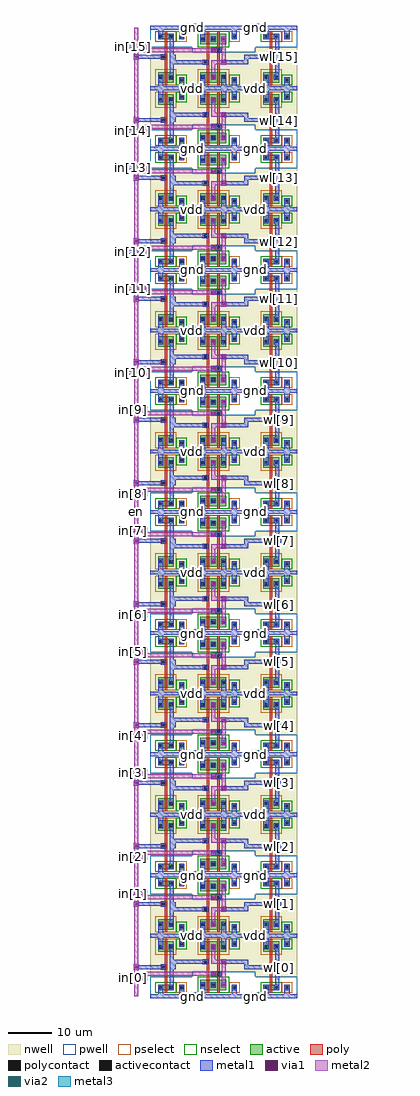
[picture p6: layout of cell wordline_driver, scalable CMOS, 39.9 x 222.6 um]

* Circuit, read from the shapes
.subckt wordline_driver en gnd in[0] in[10] in[11] in[12] in[13] in[14] in[15] in[1] in[2] in[3] in[4] in[5] in[6] in[7] in[8] in[9] vdd wl[0] wl[10] wl[11] wl[12] wl[13] wl[14] wl[15] wl[1] wl[2] wl[3] wl[4] wl[5] wl[6] wl[7] wl[8] wl[9]
M1 pnand2_4_1/A en gnd gnd nfet w=1.2u l=0.6u
M2 pnand2_4_4/A en gnd gnd nfet w=1.2u l=0.6u
M3 pnand2_4_7/A en gnd gnd nfet w=1.2u l=0.6u
M4 pnand2_4_10/A en gnd gnd nfet w=1.2u l=0.6u
M5 pnand2_4_13/A en gnd gnd nfet w=1.2u l=0.6u
M6 pnand2_4_16/A en gnd gnd nfet w=1.2u l=0.6u
M7 pnand2_4_19/A en gnd gnd nfet w=1.2u l=0.6u
M8 pnand2_4_22/A en gnd gnd nfet w=1.2u l=0.6u
M9 pnand2_4_25/A en gnd gnd nfet w=1.2u l=0.6u
M10 pnand2_4_28/A en gnd gnd nfet w=1.2u l=0.6u
M11 pnand2_4_31/A en gnd gnd nfet w=1.2u l=0.6u
M12 pnand2_4_34/A en gnd gnd nfet w=1.2u l=0.6u
M13 pnand2_4_37/A en gnd gnd nfet w=1.2u l=0.6u
M14 pnand2_4_40/A en gnd gnd nfet w=1.2u l=0.6u
M15 pnand2_4_43/A en gnd gnd nfet w=1.2u l=0.6u
M16 pnand2_4_46/A en gnd gnd nfet w=1.2u l=0.6u
M17 pnand2_4_1/nmos_m1_w2_4_a_p_2/D pnand2_4_1/A gnd gnd nfet w=2.4u l=0.6u
M18 pnand2_4_4/nmos_m1_w2_4_a_p_2/D pnand2_4_4/A gnd gnd nfet w=2.4u l=0.6u
M19 pnand2_4_7/nmos_m1_w2_4_a_p_2/D pnand2_4_7/A gnd gnd nfet w=2.4u l=0.6u
M20 pnand2_4_10/nmos_m1_w2_4_a_p_2/D pnand2_4_10/A gnd gnd nfet w=2.4u l=0.6u
M21 pnand2_4_13/nmos_m1_w2_4_a_p_2/D pnand2_4_13/A gnd gnd nfet w=2.4u l=0.6u
M22 pnand2_4_16/nmos_m1_w2_4_a_p_2/D pnand2_4_16/A gnd gnd nfet w=2.4u l=0.6u
M23 pnand2_4_19/nmos_m1_w2_4_a_p_2/D pnand2_4_19/A gnd gnd nfet w=2.4u l=0.6u
M24 pnand2_4_22/nmos_m1_w2_4_a_p_2/D pnand2_4_22/A gnd gnd nfet w=2.4u l=0.6u
M25 pnand2_4_25/nmos_m1_w2_4_a_p_2/D pnand2_4_25/A gnd gnd nfet w=2.4u l=0.6u
M26 pnand2_4_28/nmos_m1_w2_4_a_p_2/D pnand2_4_28/A gnd gnd nfet w=2.4u l=0.6u
M27 pnand2_4_31/nmos_m1_w2_4_a_p_2/D pnand2_4_31/A gnd gnd nfet w=2.4u l=0.6u
M28 pnand2_4_34/nmos_m1_w2_4_a_p_2/D pnand2_4_34/A gnd gnd nfet w=2.4u l=0.6u
M29 pnand2_4_37/nmos_m1_w2_4_a_p_2/D pnand2_4_37/A gnd gnd nfet w=2.4u l=0.6u
M30 pnand2_4_40/nmos_m1_w2_4_a_p_2/D pnand2_4_40/A gnd gnd nfet w=2.4u l=0.6u
M31 pnand2_4_43/nmos_m1_w2_4_a_p_2/D pnand2_4_43/A gnd gnd nfet w=2.4u l=0.6u
M32 pnand2_4_46/nmos_m1_w2_4_a_p_2/D pnand2_4_46/A gnd gnd nfet w=2.4u l=0.6u
M33 pinv_14_2/A in[0] pnand2_4_1/nmos_m1_w2_4_a_p_2/D gnd nfet w=2.4u l=0.6u
M34 pinv_14_5/A in[1] pnand2_4_4/nmos_m1_w2_4_a_p_2/D gnd nfet w=2.4u l=0.6u
M35 pinv_14_8/A in[2] pnand2_4_7/nmos_m1_w2_4_a_p_2/D gnd nfet w=2.4u l=0.6u
M36 pinv_14_11/A in[3] pnand2_4_10/nmos_m1_w2_4_a_p_2/D gnd nfet w=2.4u l=0.6u
M37 pinv_14_14/A in[4] pnand2_4_13/nmos_m1_w2_4_a_p_2/D gnd nfet w=2.4u l=0.6u
M38 pinv_14_17/A in[5] pnand2_4_16/nmos_m1_w2_4_a_p_2/D gnd nfet w=2.4u l=0.6u
M39 pinv_14_20/A in[6] pnand2_4_19/nmos_m1_w2_4_a_p_2/D gnd nfet w=2.4u l=0.6u
M40 pinv_14_23/A in[7] pnand2_4_22/nmos_m1_w2_4_a_p_2/D gnd nfet w=2.4u l=0.6u
M41 pinv_14_26/A in[8] pnand2_4_25/nmos_m1_w2_4_a_p_2/D gnd nfet w=2.4u l=0.6u
M42 pinv_14_29/A in[9] pnand2_4_28/nmos_m1_w2_4_a_p_2/D gnd nfet w=2.4u l=0.6u
M43 pinv_14_32/A in[10] pnand2_4_31/nmos_m1_w2_4_a_p_2/D gnd nfet w=2.4u l=0.6u
M44 pinv_14_35/A in[11] pnand2_4_34/nmos_m1_w2_4_a_p_2/D gnd nfet w=2.4u l=0.6u
M45 pinv_14_38/A in[12] pnand2_4_37/nmos_m1_w2_4_a_p_2/D gnd nfet w=2.4u l=0.6u
M46 pinv_14_41/A in[13] pnand2_4_40/nmos_m1_w2_4_a_p_2/D gnd nfet w=2.4u l=0.6u
M47 pinv_14_44/A in[14] pnand2_4_43/nmos_m1_w2_4_a_p_2/D gnd nfet w=2.4u l=0.6u
M48 pinv_14_47/A in[15] pnand2_4_46/nmos_m1_w2_4_a_p_2/D gnd nfet w=2.4u l=0.6u
M49 wl[0] pinv_14_2/A gnd gnd nfet w=1.2u l=0.6u
M50 wl[1] pinv_14_5/A gnd gnd nfet w=1.2u l=0.6u
M51 wl[2] pinv_14_8/A gnd gnd nfet w=1.2u l=0.6u
M52 wl[3] pinv_14_11/A gnd gnd nfet w=1.2u l=0.6u
M53 wl[4] pinv_14_14/A gnd gnd nfet w=1.2u l=0.6u
M54 wl[5] pinv_14_17/A gnd gnd nfet w=1.2u l=0.6u
M55 wl[6] pinv_14_20/A gnd gnd nfet w=1.2u l=0.6u
M56 wl[7] pinv_14_23/A gnd gnd nfet w=1.2u l=0.6u
M57 wl[8] pinv_14_26/A gnd gnd nfet w=1.2u l=0.6u
M58 wl[9] pinv_14_29/A gnd gnd nfet w=1.2u l=0.6u
M59 wl[10] pinv_14_32/A gnd gnd nfet w=1.2u l=0.6u
M60 wl[11] pinv_14_35/A gnd gnd nfet w=1.2u l=0.6u
M61 wl[12] pinv_14_38/A gnd gnd nfet w=1.2u l=0.6u
M62 wl[13] pinv_14_41/A gnd gnd nfet w=1.2u l=0.6u
M63 wl[14] pinv_14_44/A gnd gnd nfet w=1.2u l=0.6u
M64 wl[15] pinv_14_47/A gnd gnd nfet w=1.2u l=0.6u
M65 pnand2_4_1/A en vdd vdd pfet w=2.4u l=0.6u
M66 pnand2_4_4/A en vdd vdd pfet w=2.4u l=0.6u
M67 pnand2_4_7/A en vdd vdd pfet w=2.4u l=0.6u
M68 pnand2_4_10/A en vdd vdd pfet w=2.4u l=0.6u
M69 pnand2_4_13/A en vdd vdd pfet w=2.4u l=0.6u
M70 pnand2_4_16/A en vdd vdd pfet w=2.4u l=0.6u
M71 pnand2_4_19/A en vdd vdd pfet w=2.4u l=0.6u
M72 pnand2_4_22/A en vdd vdd pfet w=2.4u l=0.6u
M73 pnand2_4_25/A en vdd vdd pfet w=2.4u l=0.6u
M74 pnand2_4_28/A en vdd vdd pfet w=2.4u l=0.6u
M75 pnand2_4_31/A en vdd vdd pfet w=2.4u l=0.6u
M76 pnand2_4_34/A en vdd vdd pfet w=2.4u l=0.6u
M77 pnand2_4_37/A en vdd vdd pfet w=2.4u l=0.6u
M78 pnand2_4_40/A en vdd vdd pfet w=2.4u l=0.6u
M79 pnand2_4_43/A en vdd vdd pfet w=2.4u l=0.6u
M80 pnand2_4_46/A en vdd vdd pfet w=2.4u l=0.6u
M81 pinv_14_2/A pnand2_4_1/A vdd vdd pfet w=2.4u l=0.6u
M82 pinv_14_5/A pnand2_4_4/A vdd vdd pfet w=2.4u l=0.6u
M83 pinv_14_8/A pnand2_4_7/A vdd vdd pfet w=2.4u l=0.6u
M84 pinv_14_11/A pnand2_4_10/A vdd vdd pfet w=2.4u l=0.6u
M85 pinv_14_14/A pnand2_4_13/A vdd vdd pfet w=2.4u l=0.6u
M86 pinv_14_17/A pnand2_4_16/A vdd vdd pfet w=2.4u l=0.6u
M87 pinv_14_20/A pnand2_4_19/A vdd vdd pfet w=2.4u l=0.6u
M88 pinv_14_23/A pnand2_4_22/A vdd vdd pfet w=2.4u l=0.6u
M89 pinv_14_26/A pnand2_4_25/A vdd vdd pfet w=2.4u l=0.6u
M90 pinv_14_29/A pnand2_4_28/A vdd vdd pfet w=2.4u l=0.6u
M91 pinv_14_32/A pnand2_4_31/A vdd vdd pfet w=2.4u l=0.6u
M92 pinv_14_35/A pnand2_4_34/A vdd vdd pfet w=2.4u l=0.6u
M93 pinv_14_38/A pnand2_4_37/A vdd vdd pfet w=2.4u l=0.6u
M94 pinv_14_41/A pnand2_4_40/A vdd vdd pfet w=2.4u l=0.6u
M95 pinv_14_44/A pnand2_4_43/A vdd vdd pfet w=2.4u l=0.6u
M96 pinv_14_47/A pnand2_4_46/A vdd vdd pfet w=2.4u l=0.6u
M97 vdd in[0] pinv_14_2/A vdd pfet w=2.4u l=0.6u
M98 vdd in[1] pinv_14_5/A vdd pfet w=2.4u l=0.6u
M99 vdd in[2] pinv_14_8/A vdd pfet w=2.4u l=0.6u
M100 vdd in[3] pinv_14_11/A vdd pfet w=2.4u l=0.6u
M101 vdd in[4] pinv_14_14/A vdd pfet w=2.4u l=0.6u
M102 vdd in[5] pinv_14_17/A vdd pfet w=2.4u l=0.6u
M103 vdd in[6] pinv_14_20/A vdd pfet w=2.4u l=0.6u
M104 vdd in[7] pinv_14_23/A vdd pfet w=2.4u l=0.6u
M105 vdd in[8] pinv_14_26/A vdd pfet w=2.4u l=0.6u
M106 vdd in[9] pinv_14_29/A vdd pfet w=2.4u l=0.6u
M107 vdd in[10] pinv_14_32/A vdd pfet w=2.4u l=0.6u
M108 vdd in[11] pinv_14_35/A vdd pfet w=2.4u l=0.6u
M109 vdd in[12] pinv_14_38/A vdd pfet w=2.4u l=0.6u
M110 vdd in[13] pinv_14_41/A vdd pfet w=2.4u l=0.6u
M111 vdd in[14] pinv_14_44/A vdd pfet w=2.4u l=0.6u
M112 vdd in[15] pinv_14_47/A vdd pfet w=2.4u l=0.6u
M113 wl[0] pinv_14_2/A vdd vdd pfet w=2.4u l=0.6u
M114 wl[1] pinv_14_5/A vdd vdd pfet w=2.4u l=0.6u
M115 wl[2] pinv_14_8/A vdd vdd pfet w=2.4u l=0.6u
M116 wl[3] pinv_14_11/A vdd vdd pfet w=2.4u l=0.6u
M117 wl[4] pinv_14_14/A vdd vdd pfet w=2.4u l=0.6u
M118 wl[5] pinv_14_17/A vdd vdd pfet w=2.4u l=0.6u
M119 wl[6] pinv_14_20/A vdd vdd pfet w=2.4u l=0.6u
M120 wl[7] pinv_14_23/A vdd vdd pfet w=2.4u l=0.6u
M121 wl[8] pinv_14_26/A vdd vdd pfet w=2.4u l=0.6u
M122 wl[9] pinv_14_29/A vdd vdd pfet w=2.4u l=0.6u
M123 wl[10] pinv_14_32/A vdd vdd pfet w=2.4u l=0.6u
M124 wl[11] pinv_14_35/A vdd vdd pfet w=2.4u l=0.6u
M125 wl[12] pinv_14_38/A vdd vdd pfet w=2.4u l=0.6u
M126 wl[13] pinv_14_41/A vdd vdd pfet w=2.4u l=0.6u
M127 wl[14] pinv_14_44/A vdd vdd pfet w=2.4u l=0.6u
M128 wl[15] pinv_14_47/A vdd vdd pfet w=2.4u l=0.6u
.ends

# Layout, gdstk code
from math import pi, radians
import gdstk
lib = gdstk.Library(unit=1e-6, precision=1e-09)
def R(c, l, rs):  # rectangles x0, y0, x1, y1
    for r in rs: c.add(gdstk.rectangle(r[:2], r[2:], *l))
def A(c, l, x, y, w, h, nx, ny, dx, dy):  # array of equal rectangles
    R(c, l, [(x+i*dx, y+j*dy, x+i*dx+w, y+j*dy+h) for i in range(nx) for j in range(ny)])
pwell = (41, 0)
nwell = (42, 0)
active = (43, 0)
pselect = (44, 0)
nselect = (45, 0)
poly = (46, 0)
polycontact = (47, 0)
activecontact = (48, 0)
metal1 = (49, 0)
via1 = (50, 0)
metal2 = (51, 0)
via2 = (61, 0)
metal3 = (62, 0)

active_contact_metal1_1x = lib.new_cell('active_contact_metal1_1x1_pn')
R(active_contact_metal1_1x, nwell, [(-1.8,-1.8,3,3)])
R(active_contact_metal1_1x, active, [(0,0,1.2,1.2)])
R(active_contact_metal1_1x, pselect, [(-0.6,-0.6,1.8,1.8)])
R(active_contact_metal1_1x, activecontact, [(0.3,0.3,0.9,0.9)])
R(active_contact_metal1_1x, metal1, [(0,0,1.2,1.2)])

pmos_m1_w2_4_a_p = lib.new_cell('pmos_m1_w2_4_a_p')
R(pmos_m1_w2_4_a_p, nwell, [(-1.8,-1.8,5.4,4.2)])
R(pmos_m1_w2_4_a_p, active, [(0,0,3.6,2.4)])
R(pmos_m1_w2_4_a_p, pselect, [(-0.6,-0.6,4.2,3)])
R(pmos_m1_w2_4_a_p, poly, [(1.5,-0.6,2.1,3), (1.5,-0.6,2.1,3)])
R(pmos_m1_w2_4_a_p, metal1, [(0,0.6,1.2,1.8), (2.4,0.6,3.6,1.8)])
pmos_m1_w2_4_a_p.add(gdstk.Reference(active_contact_metal1_1x, (0,0.6)))
pmos_m1_w2_4_a_p.add(gdstk.Reference(active_contact_metal1_1x, (2.4,0.6)))
pmos_m1_w2_4_a_p.add(gdstk.Label('G', (1.8,1.2), layer=46, texttype=0))
pmos_m1_w2_4_a_p.add(gdstk.Label('S', (0.6,1.2), layer=49, texttype=0))
pmos_m1_w2_4_a_p.add(gdstk.Label('D', (3,1.2), layer=49, texttype=0))

c_active_contact_metal1_1x = lib.new_cell('active_contact_metal1_1x1_np')
R(c_active_contact_metal1_1x, pwell, [(-1.8,-1.8,3,3)])
R(c_active_contact_metal1_1x, active, [(0,0,1.2,1.2)])
R(c_active_contact_metal1_1x, nselect, [(-0.6,-0.6,1.8,1.8)])
R(c_active_contact_metal1_1x, activecontact, [(0.3,0.3,0.9,0.9)])
R(c_active_contact_metal1_1x, metal1, [(0,0,1.2,1.2)])

nmos_m1_w1_2_a_p = lib.new_cell('nmos_m1_w1_2_a_p')
R(nmos_m1_w1_2_a_p, pwell, [(-1.8,-1.8,5.4,3)])
R(nmos_m1_w1_2_a_p, active, [(0,0,3.6,1.2)])
R(nmos_m1_w1_2_a_p, nselect, [(-0.6,-0.6,4.2,1.8)])
R(nmos_m1_w1_2_a_p, poly, [(1.5,-0.6,2.1,1.8), (1.5,-0.6,2.1,1.8)])
R(nmos_m1_w1_2_a_p, metal1, [(0,0,1.2,1.2), (2.4,0,3.6,1.2)])
nmos_m1_w1_2_a_p.add(gdstk.Reference(c_active_contact_metal1_1x, (0,0)))
nmos_m1_w1_2_a_p.add(gdstk.Reference(c_active_contact_metal1_1x, (2.4,0)))
nmos_m1_w1_2_a_p.add(gdstk.Label('G', (1.8,0.6), layer=46, texttype=0))
nmos_m1_w1_2_a_p.add(gdstk.Label('S', (0.6,0.6), layer=49, texttype=0))
nmos_m1_w1_2_a_p.add(gdstk.Label('D', (3,0.6), layer=49, texttype=0))

c_active_contact_metal1_1x_ = lib.new_cell('active_contact_metal1_1x1_nn')
R(c_active_contact_metal1_1x_, nwell, [(-1.8,-1.8,3,3)])
R(c_active_contact_metal1_1x_, active, [(0,0,1.2,1.2)])
R(c_active_contact_metal1_1x_, nselect, [(-0.6,-0.6,1.8,1.8)])
R(c_active_contact_metal1_1x_, activecontact, [(0.3,0.3,0.9,0.9)])
R(c_active_contact_metal1_1x_, metal1, [(0,0,1.2,1.2)])

c_active_contact_metal1_1x__ = lib.new_cell('active_contact_metal1_1x1_pp')
R(c_active_contact_metal1_1x__, pwell, [(-1.8,-1.8,3,3)])
R(c_active_contact_metal1_1x__, active, [(0,0,1.2,1.2)])
R(c_active_contact_metal1_1x__, pselect, [(-0.6,-0.6,1.8,1.8)])
R(c_active_contact_metal1_1x__, activecontact, [(0.3,0.3,0.9,0.9)])
R(c_active_contact_metal1_1x__, metal1, [(0,0,1.2,1.2)])

poly_contact_metal1_1x1 = lib.new_cell('poly_contact_metal1_1x1')
R(poly_contact_metal1_1x1, poly, [(0,0,1.2,1.2)])
R(poly_contact_metal1_1x1, polycontact, [(0.3,0.3,0.9,0.9)])
R(poly_contact_metal1_1x1, metal1, [(0,0,1.2,1.2)])

pinv_15 = lib.new_cell('pinv_15')
R(pinv_15, pwell, [(0,-0.45,9.6,4.35)])
R(pinv_15, nwell, [(0,4.35,9.6,14.25)])
R(pinv_15, poly, [(3.3,0.75,3.9,9.45), (3,6,3.3,7.2)])
R(pinv_15, metal1, [(0,-0.45,9.6,0.45), (1.8,-0.45,3,1.35), (6.6,0,7.8,1.95), (4.5,1.35,5.4,10.65), (2.4,6,3.6,7.2), (4.95,6.15,5.85,7.05), (1.8,10.65,3,14.25), (6.6,11.85,7.8,13.8), (0,13.35,9.6,14.25)])
pinv_15.add(gdstk.Reference(pmos_m1_w2_4_a_p, (1.8,10.05)))
pinv_15.add(gdstk.Reference(nmos_m1_w1_2_a_p, (1.8,1.35)))
pinv_15.add(gdstk.Reference(c_active_contact_metal1_1x_, (6.6,11.25)))
pinv_15.add(gdstk.Reference(c_active_contact_metal1_1x__, (6.6,1.35)))
pinv_15.add(gdstk.Reference(poly_contact_metal1_1x1, (2.4,6)))
pinv_15.add(gdstk.Label('gnd', (4.8,0), layer=49, texttype=0))
pinv_15.add(gdstk.Label('vdd', (4.8,13.8), layer=49, texttype=0))
pinv_15.add(gdstk.Label('A', (3,6.6), layer=49, texttype=0))
pinv_15.add(gdstk.Label('Z', (5.4,6.6), layer=49, texttype=0))

nmos_m1_w2_4_a_p = lib.new_cell('nmos_m1_w2_4_a_p')
R(nmos_m1_w2_4_a_p, pwell, [(-1.8,-1.8,5.4,4.2)])
R(nmos_m1_w2_4_a_p, active, [(0,0,3.6,2.4)])
R(nmos_m1_w2_4_a_p, nselect, [(-0.6,-0.6,4.2,3)])
R(nmos_m1_w2_4_a_p, poly, [(1.5,-0.6,2.1,3), (1.5,-0.6,2.1,3)])
R(nmos_m1_w2_4_a_p, metal1, [(0,0.6,1.2,1.8), (2.4,0.6,3.6,1.8)])
nmos_m1_w2_4_a_p.add(gdstk.Reference(c_active_contact_metal1_1x, (0,0.6)))
nmos_m1_w2_4_a_p.add(gdstk.Reference(c_active_contact_metal1_1x, (2.4,0.6)))
nmos_m1_w2_4_a_p.add(gdstk.Label('G', (1.8,1.2), layer=46, texttype=0))
nmos_m1_w2_4_a_p.add(gdstk.Label('S', (0.6,1.2), layer=49, texttype=0))
nmos_m1_w2_4_a_p.add(gdstk.Label('D', (3,1.2), layer=49, texttype=0))

metal1_via1_metal2_1x1 = lib.new_cell('metal1_via1_metal2_1x1')
R(metal1_via1_metal2_1x1, metal1, [(0,0,1.2,1.2)])
R(metal1_via1_metal2_1x1, via1, [(0.3,0.3,0.9,0.9)])
R(metal1_via1_metal2_1x1, metal2, [(0,0,1.2,1.2)])

pnand2_4 = lib.new_cell('pnand2_4')
R(pnand2_4, pwell, [(0,-0.45,14.4,5.55)])
R(pnand2_4, nwell, [(0,5.55,14.4,14.25)])
R(pnand2_4, poly, [(3.3,0.75,3.9,9.45), (5.7,0.75,6.3,9.45), (5.7,4.5,6,5.7), (3,7.2,3.3,8.4)])
R(pnand2_4, metal1, [(0,-0.45,14.4,0.45), (1.8,-0.45,3,1.95), (9,0,10.2,1.95), (5.4,4.5,6.6,5.7), (2.4,7.2,3.6,8.4), (6.6,7.2,7.8,8.4), (1.8,10.65,3,14.25), (6.6,10.65,7.8,14.25), (9,11.85,10.2,13.8), (0,13.35,14.4,14.25)])
R(pnand2_4, metal2, [(6.75,3.15,7.65,7.8), (4.35,7.35,5.25,8.25), (4.8,7.35,7.2,8.25), (6.75,7.35,7.65,8.25), (4.35,7.8,5.25,10.65)])
pnand2_4.add(gdstk.Reference(pmos_m1_w2_4_a_p, (1.8,10.05)))
pnand2_4.add(gdstk.Reference(pmos_m1_w2_4_a_p, (4.2,10.05)))
pnand2_4.add(gdstk.Reference(nmos_m1_w2_4_a_p, (1.8,1.35)))
pnand2_4.add(gdstk.Reference(nmos_m1_w2_4_a_p, (4.2,1.35)))
pnand2_4.add(gdstk.Reference(c_active_contact_metal1_1x_, (9,11.25)))
pnand2_4.add(gdstk.Reference(c_active_contact_metal1_1x__, (9,1.35)))
pnand2_4.add(gdstk.Reference(poly_contact_metal1_1x1, (6.6,4.5), rotation=pi/2))
pnand2_4.add(gdstk.Reference(poly_contact_metal1_1x1, (3.6,7.2), rotation=pi/2))
pnand2_4.add(gdstk.Reference(metal1_via1_metal2_1x1, (4.2,10.65)))
pnand2_4.add(gdstk.Reference(metal1_via1_metal2_1x1, (6.6,1.95)))
pnand2_4.add(gdstk.Reference(metal1_via1_metal2_1x1, (7.8,7.2), rotation=pi/2))
pnand2_4.add(gdstk.Label('gnd', (7.2,0), layer=49, texttype=0))
pnand2_4.add(gdstk.Label('vdd', (7.2,13.8), layer=49, texttype=0))
pnand2_4.add(gdstk.Label('B', (6,5.1), layer=49, texttype=0))
pnand2_4.add(gdstk.Label('A', (3,7.8), layer=49, texttype=0))
pnand2_4.add(gdstk.Label('Z', (7.2,7.8), layer=49, texttype=0))

pinv_14 = lib.new_cell('pinv_14')
R(pinv_14, pwell, [(0,-0.45,9.6,4.35)])
R(pinv_14, nwell, [(0,4.35,9.6,14.25)])
R(pinv_14, poly, [(3.3,0.75,3.9,9.45), (3,6,3.3,7.2)])
R(pinv_14, metal1, [(0,-0.45,9.6,0.45), (1.8,-0.45,3,1.35), (6.6,0,7.8,1.95), (4.5,1.35,5.4,10.65), (2.4,6,3.6,7.2), (4.95,6.15,5.85,7.05), (1.8,10.65,3,14.25), (6.6,11.85,7.8,13.8), (0,13.35,9.6,14.25)])
pinv_14.add(gdstk.Reference(pmos_m1_w2_4_a_p, (1.8,10.05)))
pinv_14.add(gdstk.Reference(nmos_m1_w1_2_a_p, (1.8,1.35)))
pinv_14.add(gdstk.Reference(c_active_contact_metal1_1x_, (6.6,11.25)))
pinv_14.add(gdstk.Reference(c_active_contact_metal1_1x__, (6.6,1.35)))
pinv_14.add(gdstk.Reference(poly_contact_metal1_1x1, (2.4,6)))
pinv_14.add(gdstk.Label('gnd', (4.8,0), layer=49, texttype=0))
pinv_14.add(gdstk.Label('vdd', (4.8,13.8), layer=49, texttype=0))
pinv_14.add(gdstk.Label('A', (3,6.6), layer=49, texttype=0))
pinv_14.add(gdstk.Label('Z', (5.4,6.6), layer=49, texttype=0))

metal2_via2_metal3_1x1 = lib.new_cell('metal2_via2_metal3_1x1')
R(metal2_via2_metal3_1x1, metal2, [(0.3,0.3,1.5,1.5)])
R(metal2_via2_metal3_1x1, via2, [(0.6,0.6,1.2,1.2)])
R(metal2_via2_metal3_1x1, metal3, [(0,0,1.8,1.8)])

wordline_driver = lib.new_cell('wordline_driver')
A(wordline_driver, metal1, 8.7, 7.95, 0.9, 0.75, 1, 8, 0, 27.6)
A(wordline_driver, metal1, 8.7, 20.7, 0.9, 1.65, 1, 8, 0, 27.6)
R(wordline_driver, metal1, [(-2.55,4.65,2.55,5.55), (0.6,7.05,6.15,7.95), (8.7,7.05,9.6,7.95), (25.2,7.05,26.1,7.95), (25.65,7.05,30.15,7.95), (32.7,7.05,33.6,7.95), (25.2,7.5,26.1,8.7), (8.7,8.25,9.6,9.15), (9.15,8.25,15.75,9.15), (15.75,8.25,16.95,9.15), (21.15,8.25,25.65,9.15), (25.2,8.25,26.1,9.15), (8.7,20.25,9.6,21.15), (9.15,20.25,15.75,21.15), (15.75,20.25,16.95,21.15), (21.15,20.25,25.65,21.15), (25.2,20.25,26.1,21.15), (25.2,20.7,26.1,21.9), (0.6,21.45,6.15,22.35), (8.7,21.45,9.6,22.35), (25.2,21.45,26.1,22.35), (25.65,21.45,30.15,22.35), (32.7,21.45,33.6,22.35), (-2.55,23.85,2.55,24.75), (-2.55,32.25,2.55,33.15), (0.6,34.65,6.15,35.55), (8.7,34.65,9.6,35.55), (25.2,34.65,26.1,35.55), (25.65,34.65,30.15,35.55), (32.7,34.65,33.6,35.55), (25.2,35.1,26.1,36.3), (8.7,35.85,9.6,36.75), (9.15,35.85,15.75,36.75), (15.75,35.85,16.95,36.75), (21.15,35.85,25.65,36.75), (25.2,35.85,26.1,36.75), (8.7,47.85,9.6,48.75), (9.15,47.85,15.75,48.75), (15.75,47.85,16.95,48.75), (21.15,47.85,25.65,48.75), (25.2,47.85,26.1,48.75), (25.2,48.3,26.1,49.5), (0.6,49.05,6.15,49.95), (8.7,49.05,9.6,49.95), (25.2,49.05,26.1,49.95), (25.65,49.05,30.15,49.95), (32.7,49.05,33.6,49.95), (-2.55,51.45,2.55,52.35), (-2.55,59.85,2.55,60.75), (0.6,62.25,6.15,63.15), (8.7,62.25,9.6,63.15), (25.2,62.25,26.1,63.15), (25.65,62.25,30.15,63.15), (32.7,62.25,33.6,63.15), (25.2,62.7,26.1,63.9), (8.7,63.45,9.6,64.35), (9.15,63.45,15.75,64.35), (15.75,63.45,16.95,64.35), (21.15,63.45,25.65,64.35), (25.2,63.45,26.1,64.35), (8.7,75.45,9.6,76.35), (9.15,75.45,15.75,76.35), (15.75,75.45,16.95,76.35), (21.15,75.45,25.65,76.35), (25.2,75.45,26.1,76.35), (25.2,75.9,26.1,77.1), (0.6,76.65,6.15,77.55), (8.7,76.65,9.6,77.55), (25.2,76.65,26.1,77.55), (25.65,76.65,30.15,77.55), (32.7,76.65,33.6,77.55), (-2.55,79.05,2.55,79.95), (-2.55,87.45,2.55,88.35), (0.6,89.85,6.15,90.75), (8.7,89.85,9.6,90.75), (25.2,89.85,26.1,90.75), (25.65,89.85,30.15,90.75), (32.7,89.85,33.6,90.75), (25.2,90.3,26.1,91.5), (8.7,91.05,9.6,91.95), (9.15,91.05,15.75,91.95), (15.75,91.05,16.95,91.95), (21.15,91.05,25.65,91.95), (25.2,91.05,26.1,91.95), (8.7,103.05,9.6,103.95), (9.15,103.05,15.75,103.95), (15.75,103.05,16.95,103.95), (21.15,103.05,25.65,103.95), (25.2,103.05,26.1,103.95), (25.2,103.5,26.1,104.7), (0.6,104.25,6.15,105.15), (8.7,104.25,9.6,105.15), (25.2,104.25,26.1,105.15), (25.65,104.25,30.15,105.15), (32.7,104.25,33.6,105.15), (-2.55,106.65,2.55,107.55), (-2.55,115.05,2.55,115.95), (0.6,117.45,6.15,118.35), (8.7,117.45,9.6,118.35), (25.2,117.45,26.1,118.35), (25.65,117.45,30.15,118.35), (32.7,117.45,33.6,118.35), (25.2,117.9,26.1,119.1), (8.7,118.65,9.6,119.55), (9.15,118.65,15.75,119.55), (15.75,118.65,16.95,119.55), (21.15,118.65,25.65,119.55), (25.2,118.65,26.1,119.55), (8.7,130.65,9.6,131.55), (9.15,130.65,15.75,131.55), (15.75,130.65,16.95,131.55), (21.15,130.65,25.65,131.55), (25.2,130.65,26.1,131.55), (25.2,131.1,26.1,132.3), (0.6,131.85,6.15,132.75), (8.7,131.85,9.6,132.75), (25.2,131.85,26.1,132.75), (25.65,131.85,30.15,132.75), (32.7,131.85,33.6,132.75), (-2.55,134.25,2.55,135.15), (-2.55,142.65,2.55,143.55), (0.6,145.05,6.15,145.95), (8.7,145.05,9.6,145.95), (25.2,145.05,26.1,145.95), (25.65,145.05,30.15,145.95), (32.7,145.05,33.6,145.95), (25.2,145.5,26.1,146.7), (8.7,146.25,9.6,147.15), (9.15,146.25,15.75,147.15), (15.75,146.25,16.95,147.15), (21.15,146.25,25.65,147.15), (25.2,146.25,26.1,147.15), (8.7,158.25,9.6,159.15), (9.15,158.25,15.75,159.15), (15.75,158.25,16.95,159.15), (21.15,158.25,25.65,159.15), (25.2,158.25,26.1,159.15), (25.2,158.7,26.1,159.9), (0.6,159.45,6.15,160.35), (8.7,159.45,9.6,160.35), (25.2,159.45,26.1,160.35), (25.65,159.45,30.15,160.35), (32.7,159.45,33.6,160.35), (-2.55,161.85,2.55,162.75), (-2.55,170.25,2.55,171.15), (0.6,172.65,6.15,173.55), (8.7,172.65,9.6,173.55), (25.2,172.65,26.1,173.55), (25.65,172.65,30.15,173.55), (32.7,172.65,33.6,173.55), (25.2,173.1,26.1,174.3), (8.7,173.85,9.6,174.75), (9.15,173.85,15.75,174.75), (15.75,173.85,16.95,174.75), (21.15,173.85,25.65,174.75), (25.2,173.85,26.1,174.75), (8.7,185.85,9.6,186.75), (9.15,185.85,15.75,186.75), (15.75,185.85,16.95,186.75), (21.15,185.85,25.65,186.75), (25.2,185.85,26.1,186.75), (25.2,186.3,26.1,187.5), (0.6,187.05,6.15,187.95), (8.7,187.05,9.6,187.95), (25.2,187.05,26.1,187.95), (25.65,187.05,30.15,187.95), (32.7,187.05,33.6,187.95), (-2.55,189.45,2.55,190.35), (-2.55,197.85,2.55,198.75), (0.6,200.25,6.15,201.15), (8.7,200.25,9.6,201.15), (25.2,200.25,26.1,201.15), (25.65,200.25,30.15,201.15), (32.7,200.25,33.6,201.15), (25.2,200.7,26.1,201.9), (8.7,201.45,9.6,202.35), (9.15,201.45,15.75,202.35), (15.75,201.45,16.95,202.35), (21.15,201.45,25.65,202.35), (25.2,201.45,26.1,202.35), (8.7,213.45,9.6,214.35), (9.15,213.45,15.75,214.35), (15.75,213.45,16.95,214.35), (21.15,213.45,25.65,214.35), (25.2,213.45,26.1,214.35), (25.2,213.9,26.1,215.1), (0.6,214.65,6.15,215.55), (8.7,214.65,9.6,215.55), (25.2,214.65,26.1,215.55), (25.65,214.65,30.15,215.55), (32.7,214.65,33.6,215.55), (-2.55,217.05,2.55,217.95)])
R(wordline_driver, metal2, [(0.15,0.9,1.05,221.7), (2.1,5.1,3,6), (2.1,5.55,3,6.45), (2.55,5.55,18.75,6.45), (2.1,22.95,3,23.85), (2.55,22.95,18.75,23.85), (2.1,23.4,3,24.3), (2.1,32.7,3,33.6), (2.1,33.15,3,34.05), (2.55,33.15,18.75,34.05), (2.1,50.55,3,51.45), (2.55,50.55,18.75,51.45), (2.1,51,3,51.9), (2.1,60.3,3,61.2), (2.1,60.75,3,61.65), (2.55,60.75,18.75,61.65), (2.1,78.15,3,79.05), (2.55,78.15,18.75,79.05), (2.1,78.6,3,79.5), (2.1,87.9,3,88.8), (2.1,88.35,3,89.25), (2.55,88.35,18.75,89.25), (2.1,105.75,3,106.65), (2.55,105.75,18.75,106.65), (2.1,106.2,3,107.1), (2.1,115.5,3,116.4), (2.1,115.95,3,116.85), (2.55,115.95,18.75,116.85), (2.1,133.35,3,134.25), (2.55,133.35,18.75,134.25), (2.1,133.8,3,134.7), (2.1,143.1,3,144), (2.1,143.55,3,144.45), (2.55,143.55,18.75,144.45), (2.1,160.95,3,161.85), (2.55,160.95,18.75,161.85), (2.1,161.4,3,162.3), (2.1,170.7,3,171.6), (2.1,171.15,3,172.05), (2.55,171.15,18.75,172.05), (2.1,188.55,3,189.45), (2.55,188.55,18.75,189.45), (2.1,189,3,189.9), (2.1,198.3,3,199.2), (2.1,198.75,3,199.65), (2.55,198.75,18.75,199.65), (2.1,216.15,3,217.05), (2.55,216.15,18.75,217.05), (2.1,216.6,3,217.5)])
A(wordline_driver, metal3, 12.6, 0.15, 1.5, 1.5, 1, 17, 0, 13.8)
A(wordline_driver, metal3, 27, 0.15, 1.5, 1.5, 1, 17, 0, 13.8)
wordline_driver.add(gdstk.Reference(pinv_15, (3.75,0.9)))
wordline_driver.add(gdstk.Reference(pnand2_4, (13.35,0.9)))
wordline_driver.add(gdstk.Reference(pinv_14, (27.75,0.9)))
wordline_driver.add(gdstk.Reference(pinv_15, (3.75,28.5), x_reflection=True))
wordline_driver.add(gdstk.Reference(pnand2_4, (13.35,28.5), x_reflection=True))
wordline_driver.add(gdstk.Reference(pinv_14, (27.75,28.5), x_reflection=True))
wordline_driver.add(gdstk.Reference(pinv_15, (3.75,28.5)))
wordline_driver.add(gdstk.Reference(pnand2_4, (13.35,28.5)))
wordline_driver.add(gdstk.Reference(pinv_14, (27.75,28.5)))
wordline_driver.add(gdstk.Reference(pinv_15, (3.75,56.1), x_reflection=True))
wordline_driver.add(gdstk.Reference(pnand2_4, (13.35,56.1), x_reflection=True))
wordline_driver.add(gdstk.Reference(pinv_14, (27.75,56.1), x_reflection=True))
wordline_driver.add(gdstk.Reference(pinv_15, (3.75,56.1)))
wordline_driver.add(gdstk.Reference(pnand2_4, (13.35,56.1)))
wordline_driver.add(gdstk.Reference(pinv_14, (27.75,56.1)))
wordline_driver.add(gdstk.Reference(pinv_15, (3.75,83.7), x_reflection=True))
wordline_driver.add(gdstk.Reference(pnand2_4, (13.35,83.7), x_reflection=True))
wordline_driver.add(gdstk.Reference(pinv_14, (27.75,83.7), x_reflection=True))
wordline_driver.add(gdstk.Reference(pinv_15, (3.75,83.7)))
wordline_driver.add(gdstk.Reference(pnand2_4, (13.35,83.7)))
wordline_driver.add(gdstk.Reference(pinv_14, (27.75,83.7)))
wordline_driver.add(gdstk.Reference(pinv_15, (3.75,111.3), x_reflection=True))
wordline_driver.add(gdstk.Reference(pnand2_4, (13.35,111.3), x_reflection=True))
wordline_driver.add(gdstk.Reference(pinv_14, (27.75,111.3), x_reflection=True))
wordline_driver.add(gdstk.Reference(pinv_15, (3.75,111.3)))
wordline_driver.add(gdstk.Reference(pnand2_4, (13.35,111.3)))
wordline_driver.add(gdstk.Reference(pinv_14, (27.75,111.3)))
wordline_driver.add(gdstk.Reference(pinv_15, (3.75,138.9), x_reflection=True))
wordline_driver.add(gdstk.Reference(pnand2_4, (13.35,138.9), x_reflection=True))
wordline_driver.add(gdstk.Reference(pinv_14, (27.75,138.9), x_reflection=True))
wordline_driver.add(gdstk.Reference(pinv_15, (3.75,138.9)))
wordline_driver.add(gdstk.Reference(pnand2_4, (13.35,138.9)))
wordline_driver.add(gdstk.Reference(pinv_14, (27.75,138.9)))
wordline_driver.add(gdstk.Reference(pinv_15, (3.75,166.5), x_reflection=True))
wordline_driver.add(gdstk.Reference(pnand2_4, (13.35,166.5), x_reflection=True))
wordline_driver.add(gdstk.Reference(pinv_14, (27.75,166.5), x_reflection=True))
wordline_driver.add(gdstk.Reference(pinv_15, (3.75,166.5)))
wordline_driver.add(gdstk.Reference(pnand2_4, (13.35,166.5)))
wordline_driver.add(gdstk.Reference(pinv_14, (27.75,166.5)))
wordline_driver.add(gdstk.Reference(pinv_15, (3.75,194.1), x_reflection=True))
wordline_driver.add(gdstk.Reference(pnand2_4, (13.35,194.1), x_reflection=True))
wordline_driver.add(gdstk.Reference(pinv_14, (27.75,194.1), x_reflection=True))
wordline_driver.add(gdstk.Reference(pinv_15, (3.75,194.1)))
wordline_driver.add(gdstk.Reference(pnand2_4, (13.35,194.1)))
wordline_driver.add(gdstk.Reference(pinv_14, (27.75,194.1)))
wordline_driver.add(gdstk.Reference(pinv_15, (3.75,221.7), x_reflection=True))
wordline_driver.add(gdstk.Reference(pnand2_4, (13.35,221.7), x_reflection=True))
wordline_driver.add(gdstk.Reference(pinv_14, (27.75,221.7), x_reflection=True))
wordline_driver.add(gdstk.Reference(metal1_via1_metal2_1x1, (0,6.9)))
wordline_driver.add(gdstk.Reference(metal1_via1_metal2_1x1, (1.95,4.5)))
wordline_driver.add(gdstk.Reference(metal1_via1_metal2_1x1, (18.75,5.4), rotation=pi/2))
wordline_driver.add(gdstk.Reference(metal1_via1_metal2_1x1, (0,21.3)))
wordline_driver.add(gdstk.Reference(metal1_via1_metal2_1x1, (1.95,23.7)))
wordline_driver.add(gdstk.Reference(metal1_via1_metal2_1x1, (18.75,22.8), rotation=pi/2))
wordline_driver.add(gdstk.Reference(metal1_via1_metal2_1x1, (0,34.5)))
wordline_driver.add(gdstk.Reference(metal1_via1_metal2_1x1, (1.95,32.1)))
wordline_driver.add(gdstk.Reference(metal1_via1_metal2_1x1, (18.75,33), rotation=pi/2))
wordline_driver.add(gdstk.Reference(metal1_via1_metal2_1x1, (0,48.9)))
wordline_driver.add(gdstk.Reference(metal1_via1_metal2_1x1, (1.95,51.3)))
wordline_driver.add(gdstk.Reference(metal1_via1_metal2_1x1, (18.75,50.4), rotation=pi/2))
wordline_driver.add(gdstk.Reference(metal1_via1_metal2_1x1, (0,62.1)))
wordline_driver.add(gdstk.Reference(metal1_via1_metal2_1x1, (1.95,59.7)))
wordline_driver.add(gdstk.Reference(metal1_via1_metal2_1x1, (18.75,60.6), rotation=pi/2))
wordline_driver.add(gdstk.Reference(metal1_via1_metal2_1x1, (0,76.5)))
wordline_driver.add(gdstk.Reference(metal1_via1_metal2_1x1, (1.95,78.9)))
wordline_driver.add(gdstk.Reference(metal1_via1_metal2_1x1, (18.75,78), rotation=pi/2))
wordline_driver.add(gdstk.Reference(metal1_via1_metal2_1x1, (0,89.7)))
wordline_driver.add(gdstk.Reference(metal1_via1_metal2_1x1, (1.95,87.3)))
wordline_driver.add(gdstk.Reference(metal1_via1_metal2_1x1, (18.75,88.2), rotation=pi/2))
wordline_driver.add(gdstk.Reference(metal1_via1_metal2_1x1, (0,104.1)))
wordline_driver.add(gdstk.Reference(metal1_via1_metal2_1x1, (1.95,106.5)))
wordline_driver.add(gdstk.Reference(metal1_via1_metal2_1x1, (18.75,105.6), rotation=pi/2))
wordline_driver.add(gdstk.Reference(metal1_via1_metal2_1x1, (0,117.3)))
wordline_driver.add(gdstk.Reference(metal1_via1_metal2_1x1, (1.95,114.9)))
wordline_driver.add(gdstk.Reference(metal1_via1_metal2_1x1, (18.75,115.8), rotation=pi/2))
wordline_driver.add(gdstk.Reference(metal1_via1_metal2_1x1, (0,131.7)))
wordline_driver.add(gdstk.Reference(metal1_via1_metal2_1x1, (1.95,134.1)))
wordline_driver.add(gdstk.Reference(metal1_via1_metal2_1x1, (18.75,133.2), rotation=pi/2))
wordline_driver.add(gdstk.Reference(metal1_via1_metal2_1x1, (0,144.9)))
wordline_driver.add(gdstk.Reference(metal1_via1_metal2_1x1, (1.95,142.5)))
wordline_driver.add(gdstk.Reference(metal1_via1_metal2_1x1, (18.75,143.4), rotation=pi/2))
wordline_driver.add(gdstk.Reference(metal1_via1_metal2_1x1, (0,159.3)))
wordline_driver.add(gdstk.Reference(metal1_via1_metal2_1x1, (1.95,161.7)))
wordline_driver.add(gdstk.Reference(metal1_via1_metal2_1x1, (18.75,160.8), rotation=pi/2))
wordline_driver.add(gdstk.Reference(metal1_via1_metal2_1x1, (0,172.5)))
wordline_driver.add(gdstk.Reference(metal1_via1_metal2_1x1, (1.95,170.1)))
wordline_driver.add(gdstk.Reference(metal1_via1_metal2_1x1, (18.75,171), rotation=pi/2))
wordline_driver.add(gdstk.Reference(metal1_via1_metal2_1x1, (0,186.9)))
wordline_driver.add(gdstk.Reference(metal1_via1_metal2_1x1, (1.95,189.3)))
wordline_driver.add(gdstk.Reference(metal1_via1_metal2_1x1, (18.75,188.4), rotation=pi/2))
wordline_driver.add(gdstk.Reference(metal1_via1_metal2_1x1, (0,200.1)))
wordline_driver.add(gdstk.Reference(metal1_via1_metal2_1x1, (1.95,197.7)))
wordline_driver.add(gdstk.Reference(metal1_via1_metal2_1x1, (18.75,198.6), rotation=pi/2))
wordline_driver.add(gdstk.Reference(metal1_via1_metal2_1x1, (0,214.5)))
wordline_driver.add(gdstk.Reference(metal1_via1_metal2_1x1, (1.95,216.9)))
wordline_driver.add(gdstk.Reference(metal1_via1_metal2_1x1, (18.75,216), rotation=pi/2))
wordline_driver.add(gdstk.Reference(metal1_via1_metal2_1x1, (13.95,14.1), rotation=pi/2))
wordline_driver.add(gdstk.Reference(metal2_via2_metal3_1x1, (14.25,13.8), rotation=pi/2))
wordline_driver.add(gdstk.Reference(metal1_via1_metal2_1x1, (28.35,14.1), rotation=pi/2))
wordline_driver.add(gdstk.Reference(metal2_via2_metal3_1x1, (28.65,13.8), rotation=pi/2))
wordline_driver.add(gdstk.Reference(metal1_via1_metal2_1x1, (13.95,0.3), rotation=pi/2))
wordline_driver.add(gdstk.Reference(metal2_via2_metal3_1x1, (14.25,0), rotation=pi/2))
wordline_driver.add(gdstk.Reference(metal1_via1_metal2_1x1, (28.35,0.3), rotation=pi/2))
wordline_driver.add(gdstk.Reference(metal2_via2_metal3_1x1, (28.65,0), rotation=pi/2))
wordline_driver.add(gdstk.Reference(metal1_via1_metal2_1x1, (13.95,14.1), rotation=pi/2))
wordline_driver.add(gdstk.Reference(metal2_via2_metal3_1x1, (14.25,13.8), rotation=pi/2))
wordline_driver.add(gdstk.Reference(metal1_via1_metal2_1x1, (28.35,14.1), rotation=pi/2))
wordline_driver.add(gdstk.Reference(metal2_via2_metal3_1x1, (28.65,13.8), rotation=pi/2))
wordline_driver.add(gdstk.Reference(metal1_via1_metal2_1x1, (13.95,27.9), rotation=pi/2))
wordline_driver.add(gdstk.Reference(metal2_via2_metal3_1x1, (14.25,27.6), rotation=pi/2))
wordline_driver.add(gdstk.Reference(metal1_via1_metal2_1x1, (28.35,27.9), rotation=pi/2))
wordline_driver.add(gdstk.Reference(metal2_via2_metal3_1x1, (28.65,27.6), rotation=pi/2))
wordline_driver.add(gdstk.Reference(metal1_via1_metal2_1x1, (13.95,41.7), rotation=pi/2))
wordline_driver.add(gdstk.Reference(metal2_via2_metal3_1x1, (14.25,41.4), rotation=pi/2))
wordline_driver.add(gdstk.Reference(metal1_via1_metal2_1x1, (28.35,41.7), rotation=pi/2))
wordline_driver.add(gdstk.Reference(metal2_via2_metal3_1x1, (28.65,41.4), rotation=pi/2))
wordline_driver.add(gdstk.Reference(metal1_via1_metal2_1x1, (13.95,27.9), rotation=pi/2))
wordline_driver.add(gdstk.Reference(metal2_via2_metal3_1x1, (14.25,27.6), rotation=pi/2))
wordline_driver.add(gdstk.Reference(metal1_via1_metal2_1x1, (28.35,27.9), rotation=pi/2))
wordline_driver.add(gdstk.Reference(metal2_via2_metal3_1x1, (28.65,27.6), rotation=pi/2))
wordline_driver.add(gdstk.Reference(metal1_via1_metal2_1x1, (13.95,41.7), rotation=pi/2))
wordline_driver.add(gdstk.Reference(metal2_via2_metal3_1x1, (14.25,41.4), rotation=pi/2))
wordline_driver.add(gdstk.Reference(metal1_via1_metal2_1x1, (28.35,41.7), rotation=pi/2))
wordline_driver.add(gdstk.Reference(metal2_via2_metal3_1x1, (28.65,41.4), rotation=pi/2))
wordline_driver.add(gdstk.Reference(metal1_via1_metal2_1x1, (13.95,55.5), rotation=pi/2))
wordline_driver.add(gdstk.Reference(metal2_via2_metal3_1x1, (14.25,55.2), rotation=pi/2))
wordline_driver.add(gdstk.Reference(metal1_via1_metal2_1x1, (28.35,55.5), rotation=pi/2))
wordline_driver.add(gdstk.Reference(metal2_via2_metal3_1x1, (28.65,55.2), rotation=pi/2))
wordline_driver.add(gdstk.Reference(metal1_via1_metal2_1x1, (13.95,69.3), rotation=pi/2))
wordline_driver.add(gdstk.Reference(metal2_via2_metal3_1x1, (14.25,69), rotation=pi/2))
wordline_driver.add(gdstk.Reference(metal1_via1_metal2_1x1, (28.35,69.3), rotation=pi/2))
wordline_driver.add(gdstk.Reference(metal2_via2_metal3_1x1, (28.65,69), rotation=pi/2))
wordline_driver.add(gdstk.Reference(metal1_via1_metal2_1x1, (13.95,55.5), rotation=pi/2))
wordline_driver.add(gdstk.Reference(metal2_via2_metal3_1x1, (14.25,55.2), rotation=pi/2))
wordline_driver.add(gdstk.Reference(metal1_via1_metal2_1x1, (28.35,55.5), rotation=pi/2))
wordline_driver.add(gdstk.Reference(metal2_via2_metal3_1x1, (28.65,55.2), rotation=pi/2))
wordline_driver.add(gdstk.Reference(metal1_via1_metal2_1x1, (13.95,69.3), rotation=pi/2))
wordline_driver.add(gdstk.Reference(metal2_via2_metal3_1x1, (14.25,69), rotation=pi/2))
wordline_driver.add(gdstk.Reference(metal1_via1_metal2_1x1, (28.35,69.3), rotation=pi/2))
wordline_driver.add(gdstk.Reference(metal2_via2_metal3_1x1, (28.65,69), rotation=pi/2))
wordline_driver.add(gdstk.Reference(metal1_via1_metal2_1x1, (13.95,83.1), rotation=pi/2))
wordline_driver.add(gdstk.Reference(metal2_via2_metal3_1x1, (14.25,82.8), rotation=pi/2))
wordline_driver.add(gdstk.Reference(metal1_via1_metal2_1x1, (28.35,83.1), rotation=pi/2))
wordline_driver.add(gdstk.Reference(metal2_via2_metal3_1x1, (28.65,82.8), rotation=pi/2))
wordline_driver.add(gdstk.Reference(metal1_via1_metal2_1x1, (13.95,96.9), rotation=pi/2))
wordline_driver.add(gdstk.Reference(metal2_via2_metal3_1x1, (14.25,96.6), rotation=pi/2))
wordline_driver.add(gdstk.Reference(metal1_via1_metal2_1x1, (28.35,96.9), rotation=pi/2))
wordline_driver.add(gdstk.Reference(metal2_via2_metal3_1x1, (28.65,96.6), rotation=pi/2))
wordline_driver.add(gdstk.Reference(metal1_via1_metal2_1x1, (13.95,83.1), rotation=pi/2))
wordline_driver.add(gdstk.Reference(metal2_via2_metal3_1x1, (14.25,82.8), rotation=pi/2))
wordline_driver.add(gdstk.Reference(metal1_via1_metal2_1x1, (28.35,83.1), rotation=pi/2))
wordline_driver.add(gdstk.Reference(metal2_via2_metal3_1x1, (28.65,82.8), rotation=pi/2))
wordline_driver.add(gdstk.Reference(metal1_via1_metal2_1x1, (13.95,96.9), rotation=pi/2))
wordline_driver.add(gdstk.Reference(metal2_via2_metal3_1x1, (14.25,96.6), rotation=pi/2))
wordline_driver.add(gdstk.Reference(metal1_via1_metal2_1x1, (28.35,96.9), rotation=pi/2))
wordline_driver.add(gdstk.Reference(metal2_via2_metal3_1x1, (28.65,96.6), rotation=pi/2))
wordline_driver.add(gdstk.Reference(metal1_via1_metal2_1x1, (13.95,110.7), rotation=pi/2))
wordline_driver.add(gdstk.Reference(metal2_via2_metal3_1x1, (14.25,110.4), rotation=pi/2))
wordline_driver.add(gdstk.Reference(metal1_via1_metal2_1x1, (28.35,110.7), rotation=pi/2))
wordline_driver.add(gdstk.Reference(metal2_via2_metal3_1x1, (28.65,110.4), rotation=pi/2))
wordline_driver.add(gdstk.Reference(metal1_via1_metal2_1x1, (13.95,124.5), rotation=pi/2))
wordline_driver.add(gdstk.Reference(metal2_via2_metal3_1x1, (14.25,124.2), rotation=pi/2))
wordline_driver.add(gdstk.Reference(metal1_via1_metal2_1x1, (28.35,124.5), rotation=pi/2))
wordline_driver.add(gdstk.Reference(metal2_via2_metal3_1x1, (28.65,124.2), rotation=pi/2))
wordline_driver.add(gdstk.Reference(metal1_via1_metal2_1x1, (13.95,110.7), rotation=pi/2))
wordline_driver.add(gdstk.Reference(metal2_via2_metal3_1x1, (14.25,110.4), rotation=pi/2))
wordline_driver.add(gdstk.Reference(metal1_via1_metal2_1x1, (28.35,110.7), rotation=pi/2))
wordline_driver.add(gdstk.Reference(metal2_via2_metal3_1x1, (28.65,110.4), rotation=pi/2))
wordline_driver.add(gdstk.Reference(metal1_via1_metal2_1x1, (13.95,124.5), rotation=pi/2))
wordline_driver.add(gdstk.Reference(metal2_via2_metal3_1x1, (14.25,124.2), rotation=pi/2))
wordline_driver.add(gdstk.Reference(metal1_via1_metal2_1x1, (28.35,124.5), rotation=pi/2))
wordline_driver.add(gdstk.Reference(metal2_via2_metal3_1x1, (28.65,124.2), rotation=pi/2))
wordline_driver.add(gdstk.Reference(metal1_via1_metal2_1x1, (13.95,138.3), rotation=pi/2))
wordline_driver.add(gdstk.Reference(metal2_via2_metal3_1x1, (14.25,138), rotation=pi/2))
wordline_driver.add(gdstk.Reference(metal1_via1_metal2_1x1, (28.35,138.3), rotation=pi/2))
wordline_driver.add(gdstk.Reference(metal2_via2_metal3_1x1, (28.65,138), rotation=pi/2))
wordline_driver.add(gdstk.Reference(metal1_via1_metal2_1x1, (13.95,152.1), rotation=pi/2))
wordline_driver.add(gdstk.Reference(metal2_via2_metal3_1x1, (14.25,151.8), rotation=pi/2))
wordline_driver.add(gdstk.Reference(metal1_via1_metal2_1x1, (28.35,152.1), rotation=pi/2))
wordline_driver.add(gdstk.Reference(metal2_via2_metal3_1x1, (28.65,151.8), rotation=pi/2))
wordline_driver.add(gdstk.Reference(metal1_via1_metal2_1x1, (13.95,138.3), rotation=pi/2))
wordline_driver.add(gdstk.Reference(metal2_via2_metal3_1x1, (14.25,138), rotation=pi/2))
wordline_driver.add(gdstk.Reference(metal1_via1_metal2_1x1, (28.35,138.3), rotation=pi/2))
wordline_driver.add(gdstk.Reference(metal2_via2_metal3_1x1, (28.65,138), rotation=pi/2))
wordline_driver.add(gdstk.Reference(metal1_via1_metal2_1x1, (13.95,152.1), rotation=pi/2))
wordline_driver.add(gdstk.Reference(metal2_via2_metal3_1x1, (14.25,151.8), rotation=pi/2))
wordline_driver.add(gdstk.Reference(metal1_via1_metal2_1x1, (28.35,152.1), rotation=pi/2))
wordline_driver.add(gdstk.Reference(metal2_via2_metal3_1x1, (28.65,151.8), rotation=pi/2))
wordline_driver.add(gdstk.Reference(metal1_via1_metal2_1x1, (13.95,165.9), rotation=pi/2))
wordline_driver.add(gdstk.Reference(metal2_via2_metal3_1x1, (14.25,165.6), rotation=pi/2))
wordline_driver.add(gdstk.Reference(metal1_via1_metal2_1x1, (28.35,165.9), rotation=pi/2))
wordline_driver.add(gdstk.Reference(metal2_via2_metal3_1x1, (28.65,165.6), rotation=pi/2))
wordline_driver.add(gdstk.Reference(metal1_via1_metal2_1x1, (13.95,179.7), rotation=pi/2))
wordline_driver.add(gdstk.Reference(metal2_via2_metal3_1x1, (14.25,179.4), rotation=pi/2))
wordline_driver.add(gdstk.Reference(metal1_via1_metal2_1x1, (28.35,179.7), rotation=pi/2))
wordline_driver.add(gdstk.Reference(metal2_via2_metal3_1x1, (28.65,179.4), rotation=pi/2))
wordline_driver.add(gdstk.Reference(metal1_via1_metal2_1x1, (13.95,165.9), rotation=pi/2))
wordline_driver.add(gdstk.Reference(metal2_via2_metal3_1x1, (14.25,165.6), rotation=pi/2))
wordline_driver.add(gdstk.Reference(metal1_via1_metal2_1x1, (28.35,165.9), rotation=pi/2))
wordline_driver.add(gdstk.Reference(metal2_via2_metal3_1x1, (28.65,165.6), rotation=pi/2))
wordline_driver.add(gdstk.Reference(metal1_via1_metal2_1x1, (13.95,179.7), rotation=pi/2))
wordline_driver.add(gdstk.Reference(metal2_via2_metal3_1x1, (14.25,179.4), rotation=pi/2))
wordline_driver.add(gdstk.Reference(metal1_via1_metal2_1x1, (28.35,179.7), rotation=pi/2))
wordline_driver.add(gdstk.Reference(metal2_via2_metal3_1x1, (28.65,179.4), rotation=pi/2))
wordline_driver.add(gdstk.Reference(metal1_via1_metal2_1x1, (13.95,193.5), rotation=pi/2))
wordline_driver.add(gdstk.Reference(metal2_via2_metal3_1x1, (14.25,193.2), rotation=pi/2))
wordline_driver.add(gdstk.Reference(metal1_via1_metal2_1x1, (28.35,193.5), rotation=pi/2))
wordline_driver.add(gdstk.Reference(metal2_via2_metal3_1x1, (28.65,193.2), rotation=pi/2))
wordline_driver.add(gdstk.Reference(metal1_via1_metal2_1x1, (13.95,207.3), rotation=pi/2))
wordline_driver.add(gdstk.Reference(metal2_via2_metal3_1x1, (14.25,207), rotation=pi/2))
wordline_driver.add(gdstk.Reference(metal1_via1_metal2_1x1, (28.35,207.3), rotation=pi/2))
wordline_driver.add(gdstk.Reference(metal2_via2_metal3_1x1, (28.65,207), rotation=pi/2))
wordline_driver.add(gdstk.Reference(metal1_via1_metal2_1x1, (13.95,193.5), rotation=pi/2))
wordline_driver.add(gdstk.Reference(metal2_via2_metal3_1x1, (14.25,193.2), rotation=pi/2))
wordline_driver.add(gdstk.Reference(metal1_via1_metal2_1x1, (28.35,193.5), rotation=pi/2))
wordline_driver.add(gdstk.Reference(metal2_via2_metal3_1x1, (28.65,193.2), rotation=pi/2))
wordline_driver.add(gdstk.Reference(metal1_via1_metal2_1x1, (13.95,207.3), rotation=pi/2))
wordline_driver.add(gdstk.Reference(metal2_via2_metal3_1x1, (14.25,207), rotation=pi/2))
wordline_driver.add(gdstk.Reference(metal1_via1_metal2_1x1, (28.35,207.3), rotation=pi/2))
wordline_driver.add(gdstk.Reference(metal2_via2_metal3_1x1, (28.65,207), rotation=pi/2))
wordline_driver.add(gdstk.Reference(metal1_via1_metal2_1x1, (13.95,221.1), rotation=pi/2))
wordline_driver.add(gdstk.Reference(metal2_via2_metal3_1x1, (14.25,220.8), rotation=pi/2))
wordline_driver.add(gdstk.Reference(metal1_via1_metal2_1x1, (28.35,221.1), rotation=pi/2))
wordline_driver.add(gdstk.Reference(metal2_via2_metal3_1x1, (28.65,220.8), rotation=pi/2))
wordline_driver.add(gdstk.Label('en', (0.6,111.3), layer=51, texttype=0))
wordline_driver.add(gdstk.Label('in[0]', (0,5.1), layer=49, texttype=0))
wordline_driver.add(gdstk.Label('wl[0]', (33.15,7.5), layer=49, texttype=0))
wordline_driver.add(gdstk.Label('in[1]', (0,24.3), layer=49, texttype=0))
wordline_driver.add(gdstk.Label('wl[1]', (33.15,21.9), layer=49, texttype=0))
wordline_driver.add(gdstk.Label('in[2]', (0,32.7), layer=49, texttype=0))
wordline_driver.add(gdstk.Label('wl[2]', (33.15,35.1), layer=49, texttype=0))
wordline_driver.add(gdstk.Label('in[3]', (0,51.9), layer=49, texttype=0))
wordline_driver.add(gdstk.Label('wl[3]', (33.15,49.5), layer=49, texttype=0))
wordline_driver.add(gdstk.Label('in[4]', (0,60.3), layer=49, texttype=0))
wordline_driver.add(gdstk.Label('wl[4]', (33.15,62.7), layer=49, texttype=0))
wordline_driver.add(gdstk.Label('in[5]', (0,79.5), layer=49, texttype=0))
wordline_driver.add(gdstk.Label('wl[5]', (33.15,77.1), layer=49, texttype=0))
wordline_driver.add(gdstk.Label('in[6]', (0,87.9), layer=49, texttype=0))
wordline_driver.add(gdstk.Label('wl[6]', (33.15,90.3), layer=49, texttype=0))
wordline_driver.add(gdstk.Label('in[7]', (0,107.1), layer=49, texttype=0))
wordline_driver.add(gdstk.Label('wl[7]', (33.15,104.7), layer=49, texttype=0))
wordline_driver.add(gdstk.Label('in[8]', (0,115.5), layer=49, texttype=0))
wordline_driver.add(gdstk.Label('wl[8]', (33.15,117.9), layer=49, texttype=0))
wordline_driver.add(gdstk.Label('in[9]', (0,134.7), layer=49, texttype=0))
wordline_driver.add(gdstk.Label('wl[9]', (33.15,132.3), layer=49, texttype=0))
wordline_driver.add(gdstk.Label('in[10]', (0,143.1), layer=49, texttype=0))
wordline_driver.add(gdstk.Label('wl[10]', (33.15,145.5), layer=49, texttype=0))
wordline_driver.add(gdstk.Label('in[11]', (0,162.3), layer=49, texttype=0))
wordline_driver.add(gdstk.Label('wl[11]', (33.15,159.9), layer=49, texttype=0))
wordline_driver.add(gdstk.Label('in[12]', (0,170.7), layer=49, texttype=0))
wordline_driver.add(gdstk.Label('wl[12]', (33.15,173.1), layer=49, texttype=0))
wordline_driver.add(gdstk.Label('in[13]', (0,189.9), layer=49, texttype=0))
wordline_driver.add(gdstk.Label('wl[13]', (33.15,187.5), layer=49, texttype=0))
wordline_driver.add(gdstk.Label('in[14]', (0,198.3), layer=49, texttype=0))
wordline_driver.add(gdstk.Label('wl[14]', (33.15,200.7), layer=49, texttype=0))
wordline_driver.add(gdstk.Label('in[15]', (0,217.5), layer=49, texttype=0))
wordline_driver.add(gdstk.Label('wl[15]', (33.15,215.1), layer=49, texttype=0))
wordline_driver.add(gdstk.Label('vdd', (13.35,14.7), layer=62, texttype=0))
wordline_driver.add(gdstk.Label('vdd', (27.75,14.7), layer=62, texttype=0))
wordline_driver.add(gdstk.Label('vdd', (13.35,42.3), layer=62, texttype=0))
wordline_driver.add(gdstk.Label('vdd', (27.75,42.3), layer=62, texttype=0))
wordline_driver.add(gdstk.Label('vdd', (13.35,69.9), layer=62, texttype=0))
wordline_driver.add(gdstk.Label('vdd', (27.75,69.9), layer=62, texttype=0))
wordline_driver.add(gdstk.Label('vdd', (13.35,97.5), layer=62, texttype=0))
wordline_driver.add(gdstk.Label('vdd', (27.75,97.5), layer=62, texttype=0))
wordline_driver.add(gdstk.Label('vdd', (13.35,125.1), layer=62, texttype=0))
wordline_driver.add(gdstk.Label('vdd', (27.75,125.1), layer=62, texttype=0))
wordline_driver.add(gdstk.Label('vdd', (13.35,152.7), layer=62, texttype=0))
wordline_driver.add(gdstk.Label('vdd', (27.75,152.7), layer=62, texttype=0))
wordline_driver.add(gdstk.Label('vdd', (13.35,180.3), layer=62, texttype=0))
wordline_driver.add(gdstk.Label('vdd', (27.75,180.3), layer=62, texttype=0))
wordline_driver.add(gdstk.Label('vdd', (13.35,207.9), layer=62, texttype=0))
wordline_driver.add(gdstk.Label('vdd', (27.75,207.9), layer=62, texttype=0))
wordline_driver.add(gdstk.Label('gnd', (13.35,0.9), layer=62, texttype=0))
wordline_driver.add(gdstk.Label('gnd', (27.75,0.9), layer=62, texttype=0))
wordline_driver.add(gdstk.Label('gnd', (13.35,28.5), layer=62, texttype=0))
wordline_driver.add(gdstk.Label('gnd', (27.75,28.5), layer=62, texttype=0))
wordline_driver.add(gdstk.Label('gnd', (13.35,56.1), layer=62, texttype=0))
wordline_driver.add(gdstk.Label('gnd', (27.75,56.1), layer=62, texttype=0))
wordline_driver.add(gdstk.Label('gnd', (13.35,83.7), layer=62, texttype=0))
wordline_driver.add(gdstk.Label('gnd', (27.75,83.7), layer=62, texttype=0))
wordline_driver.add(gdstk.Label('gnd', (13.35,111.3), layer=62, texttype=0))
wordline_driver.add(gdstk.Label('gnd', (27.75,111.3), layer=62, texttype=0))
wordline_driver.add(gdstk.Label('gnd', (13.35,138.9), layer=62, texttype=0))
wordline_driver.add(gdstk.Label('gnd', (27.75,138.9), layer=62, texttype=0))
wordline_driver.add(gdstk.Label('gnd', (13.35,166.5), layer=62, texttype=0))
wordline_driver.add(gdstk.Label('gnd', (27.75,166.5), layer=62, texttype=0))
wordline_driver.add(gdstk.Label('gnd', (13.35,194.1), layer=62, texttype=0))
wordline_driver.add(gdstk.Label('gnd', (27.75,194.1), layer=62, texttype=0))
wordline_driver.add(gdstk.Label('gnd', (13.35,221.7), layer=62, texttype=0))
wordline_driver.add(gdstk.Label('gnd', (27.75,221.7), layer=62, texttype=0))

lib.write_gds('wordline_driver.gds')
